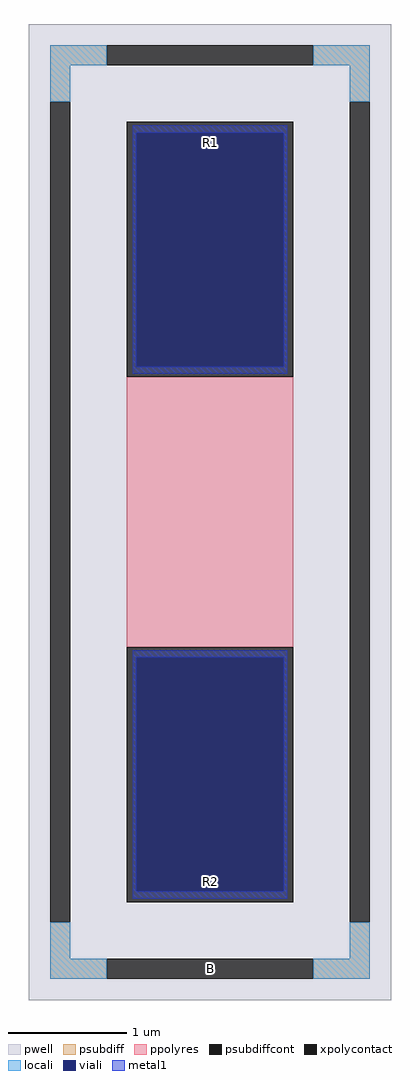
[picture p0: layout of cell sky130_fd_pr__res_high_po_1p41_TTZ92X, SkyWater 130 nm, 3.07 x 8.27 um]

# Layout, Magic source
magic
tech sky130A
magscale 1 2
<< pwell >>
rect -307 -827 307 827
<< psubdiff >>
rect -271 757 -175 791
rect 175 757 271 791
rect -271 695 -237 757
rect 237 695 271 757
rect -271 -757 -237 -695
rect 237 -757 271 -695
rect -271 -791 -175 -757
rect 175 -791 271 -757
<< psubdiffcont >>
rect -175 757 175 791
rect -271 -695 -237 695
rect 237 -695 271 695
rect -175 -791 175 -757
<< xpolycontact >>
rect -141 229 141 661
rect -141 -661 141 -229
<< ppolyres >>
rect -141 -229 141 229
<< locali >>
rect -271 757 -175 791
rect 175 757 271 791
rect -271 695 -237 757
rect 237 695 271 757
rect -271 -757 -237 -695
rect 237 -757 271 -695
rect -271 -791 -175 -757
rect 175 -791 271 -757
<< viali >>
rect -125 246 125 643
rect -125 -643 125 -246
<< metal1 >>
rect -131 643 131 655
rect -131 246 -125 643
rect 125 246 131 643
rect -131 234 131 246
rect -131 -246 131 -234
rect -131 -643 -125 -246
rect 125 -643 131 -246
rect -131 -655 131 -643
<< labels >>
rlabel psubdiffcont 0 -774 0 -774 0 B
port 4 nsew
rlabel xpolycontact 0 626 0 626 0 R1
port 5 nsew
rlabel xpolycontact 0 -626 0 -626 0 R2
port 6 nsew
<< properties >>
string FIXED_BBOX -254 -774 254 774
string gencell sky130_fd_pr__res_high_po_1p41
string library sky130
string parameters w 1.410 l 2.45 m 1 nx 1 wmin 1.410 lmin 0.50 class resistor rho 319.8 val 832.021 dummy 0 dw 0.0 term 194.82 sterm 0.0 caplen 0 guard 1 glc 1 grc 1 gtc 1 gbc 1 compatible {sky130_fd_pr__res_high_po_0p35  sky130_fd_pr__res_high_po_0p69 sky130_fd_pr__res_high_po_1p41  sky130_fd_pr__res_high_po_2p85 sky130_fd_pr__res_high_po_5p73} snake 0 full_metal 1 wmax 1.410 n_guard 0 hv_guard 0 vias 1 viagb 0 viagt 0 viagl 0 viagr 0 doports 1
<< end >>
